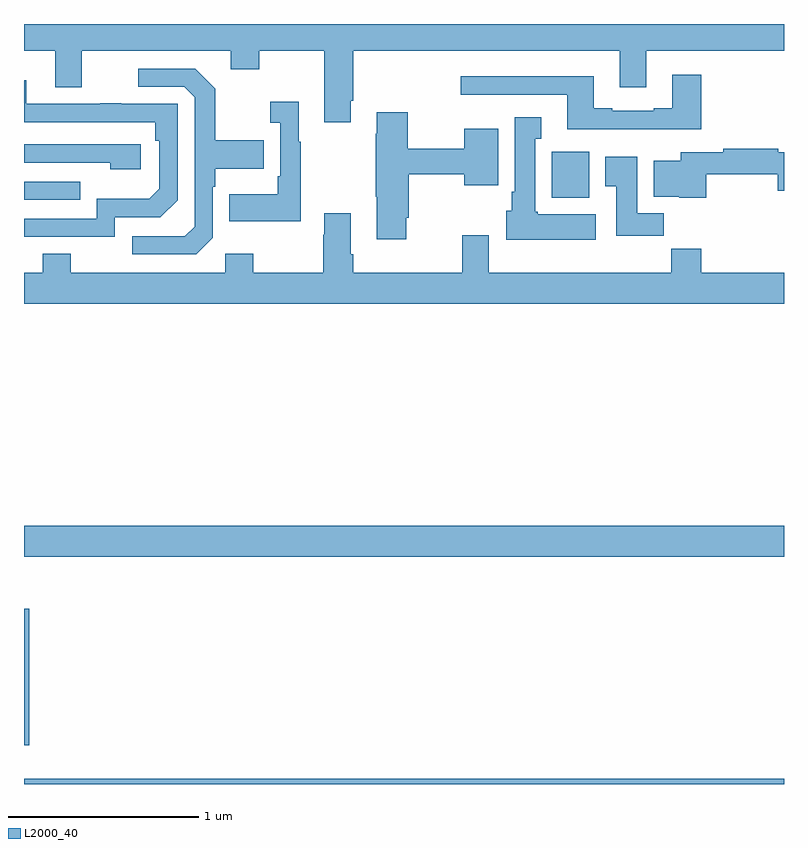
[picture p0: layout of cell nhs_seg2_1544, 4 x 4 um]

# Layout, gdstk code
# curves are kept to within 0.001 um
import gdstk
lib = gdstk.Library(unit=1e-6, precision=1e-09)
def R(c, l, rs):  # rectangles x0, y0, x1, y1
    for r in rs: c.add(gdstk.rectangle(r[:2], r[2:], *l))
def P(c, l, *ps):  # polygons
    for p in ps: c.add(gdstk.Polygon(p, *l))
L2000_40 = (2000, 40)

nhs_seg2_1544 = lib.new_cell('nhs_seg2_1544')
R(nhs_seg2_1544, L2000_40, [(191,619.8,195,619.828), (191,620.004,191.027,620.722), (191,620.996,195,621.16), (191,622.875,191.297,622.971), (193.778,622.886,193.975,623.128)])
P(nhs_seg2_1544, L2000_40, [(191,623.66),(191.165,623.66),(191.165,623.466),(191.305,623.466),(191.305,623.66),(192.089,623.66),(192.089,623.561),(192.237,623.561),(192.237,623.66),(192.581,623.66),(192.581,623.283),(192.721,623.283),(192.721,623.395),(192.734,623.395),(192.734,623.66),(194.135,623.66),(194.135,623.466),(194.275,623.466),(194.275,623.66),(195,623.66),(195,623.8),(191,623.8)],
  [(191.994,622.674),(191.994,622.943),(192.007,622.943),(192.007,623.039),(192.263,623.039),(192.263,623.187),(192.007,623.187),(192.007,623.459),(191.901,623.565),(191.601,623.565),(191.601,623.469),(191.844,623.469),(191.898,623.415),(191.898,622.734),(191.847,622.683),(191.571,622.683),(191.571,622.587),(191.907,622.587)],
  [(194.564,623.533),(194.411,623.533),(194.411,623.356),(194.315,623.356),(194.315,623.343),(194.095,623.343),(194.095,623.356),(193.999,623.356),(193.999,623.524),(193.299,623.524),(193.299,623.427),(193.859,623.427),(193.859,623.246),(194.564,623.246)],
  [(191.478,622.782),(191.718,622.782),(191.808,622.872),(191.808,623.379),(191.513,623.379),(191.513,623.384),(191.401,623.384),(191.401,623.379),(191.011,623.379),(191.011,623.503),(191,623.503),(191,623.284),(191.692,623.283),(191.692,623.186),(191.712,623.186),(191.712,622.932),(191.659,622.879),(191.382,622.879),(191.382,622.776),(191,622.776),(191,622.68),(191.478,622.68)],
  [(192.457,623.179),(192.445,623.179),(192.445,623.392),(192.297,623.392),(192.297,623.279),(192.348,623.279),(192.348,622.999),(192.336,622.999),(192.336,622.903),(192.079,622.903),(192.079,622.763),(192.457,622.763)],
  [(193.012,622.78),(193.025,622.78),(193.025,623.008),(193.316,623.008),(193.316,622.952),(193.495,622.952),(193.495,623.248),(193.316,623.248),(193.316,623.144),(193.02,623.144),(193.02,623.335),(192.857,623.335),(192.857,623.222),(192.85,623.222),(192.85,622.891),(192.857,622.891),(192.857,622.668),(193.012,622.668)],
  [(194.008,622.798),(193.704,622.798),(193.704,622.812),(193.69,622.812),(193.69,623.195),(193.723,623.195),(193.723,623.308),(193.583,623.308),(193.583,622.918),(193.568,622.918),(193.568,622.818),(193.538,622.818),(193.538,622.664),(194.008,622.664)],
  [(191.614,623.166),(191,623.166),(191,623.07),(191.453,623.07),(191.453,623.036),(191.614,623.036)],
  [(194.592,623.008),(194.966,623.008),(194.966,622.922),(195,622.922),(195,623.124),(194.97,623.124),(194.97,623.144),(194.68,623.144),(194.68,623.124),(194.456,623.124),(194.456,623.08),(194.315,623.08),(194.315,622.892),(194.448,622.892),(194.448,622.886),(194.592,622.886)],
  [(194.366,622.804),(194.227,622.804),(194.227,623.101),(194.06,623.101),(194.06,622.945),(194.117,622.945),(194.117,622.686),(194.366,622.686)],
  [(195,622.492),(194.564,622.492),(194.564,622.616),(194.407,622.616),(194.407,622.492),(193.447,622.492),(193.447,622.687),(193.307,622.687),(193.307,622.492),(192.734,622.492),(192.734,622.588),(192.721,622.588),(192.721,622.804),(192.581,622.804),(192.581,622.691),(192.574,622.691),(192.574,622.492),(192.207,622.492),(192.207,622.591),(192.06,622.591),(192.06,622.492),(191.247,622.492),(191.247,622.591),(191.099,622.591),(191.099,622.492),(191,622.492),(191,622.328),(195,622.328)])

lib.write_gds('nhs_seg2_1544.gds')
